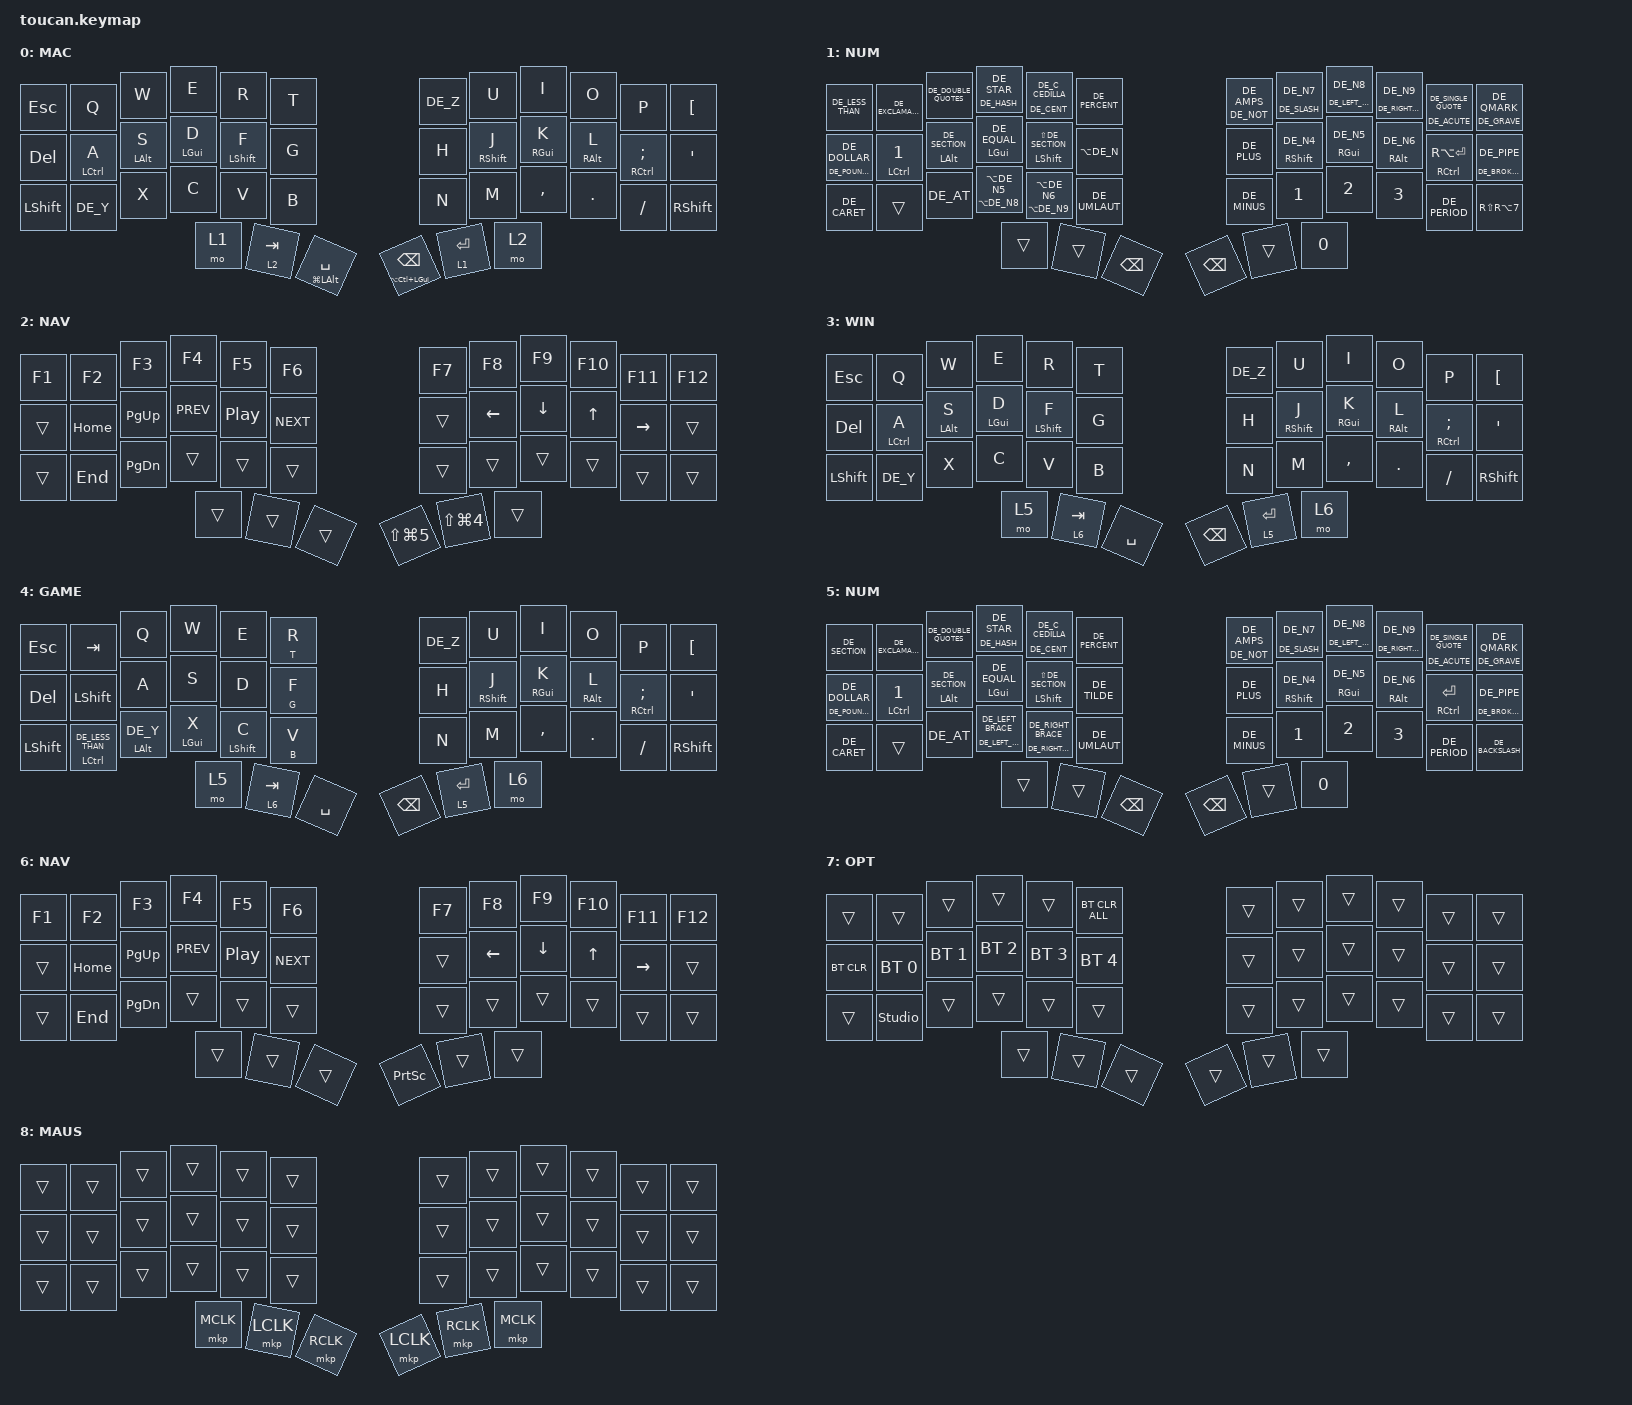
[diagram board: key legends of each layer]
#include "keys_de_swiss.h"
#include <behaviors.dtsi>
#include <dt-bindings/zmk/bt.h>
#include <dt-bindings/zmk/keys.h>
#include <dt-bindings/zmk/pointing.h>

#define MAC     0
#define MACNUM  1
#define MACNAV  2
#define WIN     3
#define GAME    4
#define WINUM   5
#define WINAV   6
#define BLTOPT  7
#define MOU     8

/ {
    conditional_layers {
        compatible = "zmk,conditional-layers";

        mac_tri_layer {
            if-layers = <1 2>;
            then-layer = <7>;
        };

        win_tri_layer {
            if-layers = <5 6>;
            then-layer = <7>;
        };
    };

    behaviors {
        hmr: hmr {
            compatible = "zmk,behavior-hold-tap";
            label = "HMR";
            bindings = <&kp>, <&kp>;

            #binding-cells = <2>;
            tapping-term-ms = <190>;
            quick-tap-ms = <175>;
            flavor = "balanced";
            hold-trigger-key-positions = <0 1 2 3 4 5 12 13 14 15 16 17 24 25 26 27 28 29 36 37 38 39 40 41>;
            hold-trigger-on-release;
        };

        hml: hml {
            compatible = "zmk,behavior-hold-tap";
            label = "HML";
            bindings = <&kp>, <&kp>;

            #binding-cells = <2>;
            tapping-term-ms = <190>;
            quick-tap-ms = <175>;
            flavor = "balanced";
            hold-trigger-key-positions = <11 6 7 8 9 10 11 18 19 20 21 22 23 30 31 32 33 34 35 39 40 41 36 37 38>;
            hold-trigger-on-release;
        };
    };

    combos {
        compatible = "zmk,combos";

        CAPZ {
            bindings = <&kp CAPSLOCK>;
            key-positions = <12 13>;
            layers = <0 3>;
        };

        CAPZ_WORD {
            bindings = <&caps_word>;
            key-positions = <16 19>;
            layers = <0 3>;
        };

        to_WIN {
            bindings = <&to 3>;
            key-positions = <25 24>;
            layers = <0 4>;
        };

        to_MAC {
            bindings = <&to 0>;
            key-positions = <24 25>;
            layers = <3 4>;
        };

        left_hand_right_click {
            bindings = <&mkp RCLK>;
            key-positions = <27 26>;
        };

        left_hand_middle_click {
            bindings = <&mkp MCLK>;
            key-positions = <27 26 28>;
        };

        right_hand_right_click {
            bindings = <&mkp RCLK>;
            key-positions = <32 33>;
        };

        right_hand_middle_click {
            bindings = <&mkp MCLK>;
            key-positions = <31 32 33>;
        };

        toGAME {
            bindings = <&to 4>;
            key-positions = <28 29>;
        };

        left_hand_left_click {
            bindings = <&mkp LCLK>;
            key-positions = <27 28>;
        };

        right_hand_left_click {
            bindings = <&mkp LCLK>;
            key-positions = <31 32>;
        };

        SoftOff {
            bindings = <&soft_off>;
            key-positions = <34 35>;
        };
    };

    keymap {
        compatible = "zmk,keymap";

        default_mac {
            label = "MAC";
            display-name = "MAC";
            bindings = <
&kp ESCAPE  &kp Q  &kp W  &kp E  &kp R  &kp T  &kp DE_Z  &kp U  &kp I  &kp O  &kp P  &kp LEFT_BRACKET  &kp DELETE  &hml LEFT_CONTROL A  &hml LEFT_ALT S  &hml LEFT_GUI D  &hml LEFT_SHIFT F  &kp G  &kp H  &hmr RSHIFT J  &hmr RIGHT_GUI K  &hmr RIGHT_ALT L  &hmr RIGHT_CONTROL SEMI  &kp SQT  &kp LSHFT  &kp DE_Y  &kp X  &kp C  &kp V  &kp B  &kp N  &kp M  &kp COMMA  &kp DOT  &kp FSLH  &kp RIGHT_SHIFT  &mo 1  &lt 2 TAB  &hml LG(LEFT_ALT) SPACE  &hmr LA(LC(LEFT_GUI)) BACKSPACE  &lt 1 ENTER  &mo 2
            >;
        };

        mac_raise_layer {
            label = "MACNUM";
            display-name = "NUM";
            bindings = <
&kp DE_LESS_THAN  &kp DE_EXCLAMATION  &kp DE_DOUBLE_QUOTES  &hml DE_HASH DE_STAR  &hml DE_CENT DE_C_CEDILLA  &kp DE_PERCENT  &hmr DE_NOT DE_AMPS  &hmr DE_SLASH DE_N7  &hmr DE_LEFT_PARENTHESIS DE_N8  &hmr DE_RIGHT_PARENTHESIS DE_N9  &hmr DE_ACUTE DE_SINGLE_QUOTE  &hmr DE_GRAVE DE_QMARK  &hml DE_POUND_SIGN DE_DOLLAR  &hml LEFT_CONTROL NUMBER_1  &hml LEFT_ALT DE_SECTION  &hml LEFT_GUI DE_EQUAL  &hml LEFT_SHIFT LS(DE_SECTION)  &kp LA(DE_N)  &kp DE_PLUS  &hmr RIGHT_SHIFT DE_N4  &hmr RIGHT_GUI DE_N5  &hmr RIGHT_ALT DE_N6  &hmr RIGHT_CONTROL RA(RETURN)  &hmr DE_BROKEN_BAR DE_PIPE  &kp DE_CARET  &trans  &kp DE_AT  &hml LA(DE_N8) LA(DE_N5)  &hml LA(DE_N9) LA(DE_N6)  &kp DE_UMLAUT  &kp DE_MINUS  &kp N1  &kp N2  &kp N3  &kp DE_PERIOD  &kp RS(RA(N7))  &trans  &trans  &kp BACKSPACE  &kp BACKSPACE  &trans  &kp N0
            >;
        };

        mac_lower_layer {
            label = "MACNAV";
            display-name = "NAV";
            bindings = <
&kp F1  &kp F2  &kp F3  &kp F4  &kp F5  &kp F6  &kp F7  &kp F8  &kp F9  &kp F10  &kp F11  &kp F12  &trans  &kp HOME  &kp PAGE_UP  &kp C_PREV  &kp C_PLAY_PAUSE  &kp C_NEXT  &trans  &kp LEFT_ARROW  &kp DOWN_ARROW  &kp UP_ARROW  &kp RIGHT_ARROW  &trans  &trans  &kp END  &kp PAGE_DOWN  &trans  &trans  &trans  &trans  &trans  &trans  &trans  &trans  &trans  &trans  &trans  &trans  &kp LS(LG(NUMBER_5))  &kp LS(LG(NUMBER_4))  &trans
            >;
        };

        win_layer {
            label = "WIN";
            display-name = "WIN";
            bindings = <
&kp ESCAPE  &kp Q  &kp W  &kp E  &kp R  &kp T  &kp DE_Z  &kp U  &kp I  &kp O  &kp P  &kp LEFT_BRACKET  &kp DELETE  &hml LEFT_CONTROL A  &hml LEFT_ALT S  &hml LEFT_GUI D  &hml LEFT_SHIFT F  &kp G  &kp H  &hmr RSHIFT J  &hmr RIGHT_GUI K  &hmr RIGHT_ALT L  &hmr RIGHT_CONTROL SEMI  &kp SQT  &kp LSHFT  &kp DE_Y  &kp X  &kp C  &kp V  &kp B  &kp N  &kp M  &kp COMMA  &kp DOT  &kp FSLH  &kp RIGHT_SHIFT  &mo 5  &lt 6 TAB  &kp SPACE  &kp BACKSPACE  &lt 5 ENTER  &mo 6
            >;
        };

        game_layer {
            label = "GAME";
            display-name = "GAME";
            bindings = <
&kp ESCAPE  &kp TAB  &kp Q  &kp W  &kp E  &hml T R  &kp DE_Z  &kp U  &kp I  &kp O  &kp P  &kp LEFT_BRACKET  &kp DELETE  &kp LEFT_SHIFT  &kp A  &kp S  &kp D  &hml G F  &kp H  &hmr RSHIFT J  &hmr RIGHT_GUI K  &hmr RIGHT_ALT L  &hmr RIGHT_CONTROL SEMI  &kp SQT  &kp LSHFT  &hml LEFT_CONTROL DE_LESS_THAN  &hml LEFT_ALT DE_Y  &hml LEFT_GUI X  &hml LEFT_SHIFT C  &hml B V  &kp N  &kp M  &kp COMMA  &kp DOT  &kp FSLH  &kp RIGHT_SHIFT  &mo 5  &lt 6 TAB  &kp SPACE  &kp BACKSPACE  &lt 5 ENTER  &mo 6
            >;
        };

        win_raise_layer {
            label = "WINUM";
            display-name = "NUM";
            bindings = <
&kp DE_SECTION  &kp DE_EXCLAMATION  &kp DE_DOUBLE_QUOTES  &hml DE_HASH DE_STAR  &hml DE_CENT DE_C_CEDILLA  &kp DE_PERCENT  &hmr DE_NOT DE_AMPS  &hmr DE_SLASH DE_N7  &hmr DE_LEFT_PARENTHESIS DE_N8  &hmr DE_RIGHT_PARENTHESIS DE_N9  &hmr DE_ACUTE DE_SINGLE_QUOTE  &hmr DE_GRAVE DE_QMARK  &hml DE_POUND_SIGN DE_DOLLAR  &hml LEFT_CONTROL NUMBER_1  &hml LEFT_ALT DE_SECTION  &hml LEFT_GUI DE_EQUAL  &hml LEFT_SHIFT LS(DE_SECTION)  &kp DE_TILDE  &kp DE_PLUS  &hmr RIGHT_SHIFT DE_N4  &hmr RIGHT_GUI DE_N5  &hmr RIGHT_ALT DE_N6  &hmr RIGHT_CONTROL RETURN  &hmr DE_BROKEN_BAR DE_PIPE  &kp DE_CARET  &trans  &kp DE_AT  &hml DE_LEFT_BRACKET DE_LEFT_BRACE  &hml DE_RIGHT_BRACKET DE_RIGHT_BRACE  &kp DE_UMLAUT  &kp DE_MINUS  &kp N1  &kp N2  &kp N3  &kp DE_PERIOD  &kp DE_BACKSLASH  &trans  &trans  &kp BACKSPACE  &kp BACKSPACE  &trans  &kp N0
            >;
        };

        win_lower_layer {
            label = "WINAV";
            display-name = "NAV";
            bindings = <
&kp F1  &kp F2  &kp F3  &kp F4  &kp F5  &kp F6  &kp F7  &kp F8  &kp F9  &kp F10  &kp F11  &kp F12  &trans  &kp HOME  &kp PAGE_UP  &kp C_PREV  &kp C_PLAY_PAUSE  &kp C_NEXT  &trans  &kp LEFT_ARROW  &kp DOWN_ARROW  &kp UP_ARROW  &kp RIGHT_ARROW  &trans  &trans  &kp END  &kp PAGE_DOWN  &trans  &trans  &trans  &trans  &trans  &trans  &trans  &trans  &trans  &trans  &trans  &trans  &kp PRINTSCREEN  &trans  &trans
            >;
        };

        pref_layer {
            label = "BLTOPT";
            display-name = "OPT";
            bindings = <
&trans  &trans  &trans  &trans  &trans  &bt BT_CLR_ALL  &trans  &trans  &trans  &trans  &trans  &trans  &bt BT_CLR  &bt BT_SEL 0  &bt BT_SEL 1  &bt BT_SEL 2  &bt BT_SEL 3  &bt BT_SEL 4  &trans  &trans  &trans  &trans  &trans  &trans  &trans  &studio_unlock  &trans  &trans  &trans  &trans  &trans  &trans  &trans  &trans  &trans  &trans  &trans  &trans  &trans  &trans  &trans  &trans
            >;
        };

        mouse {
            label = "MOU";
            display-name = "MAUS";
            bindings = <
                &trans &trans &trans &trans &trans &trans           &trans &trans &trans &trans &trans &trans
                &trans &trans &trans &trans &trans &trans           &trans &trans &trans &trans &trans &trans
                &trans &trans &trans &trans &trans &trans           &trans &trans &trans &trans &trans &trans
                            &mkp MCLK &mkp LCLK &mkp RCLK           &mkp LCLK &mkp RCLK &mkp MCLK
            >;
        };
    };
};
